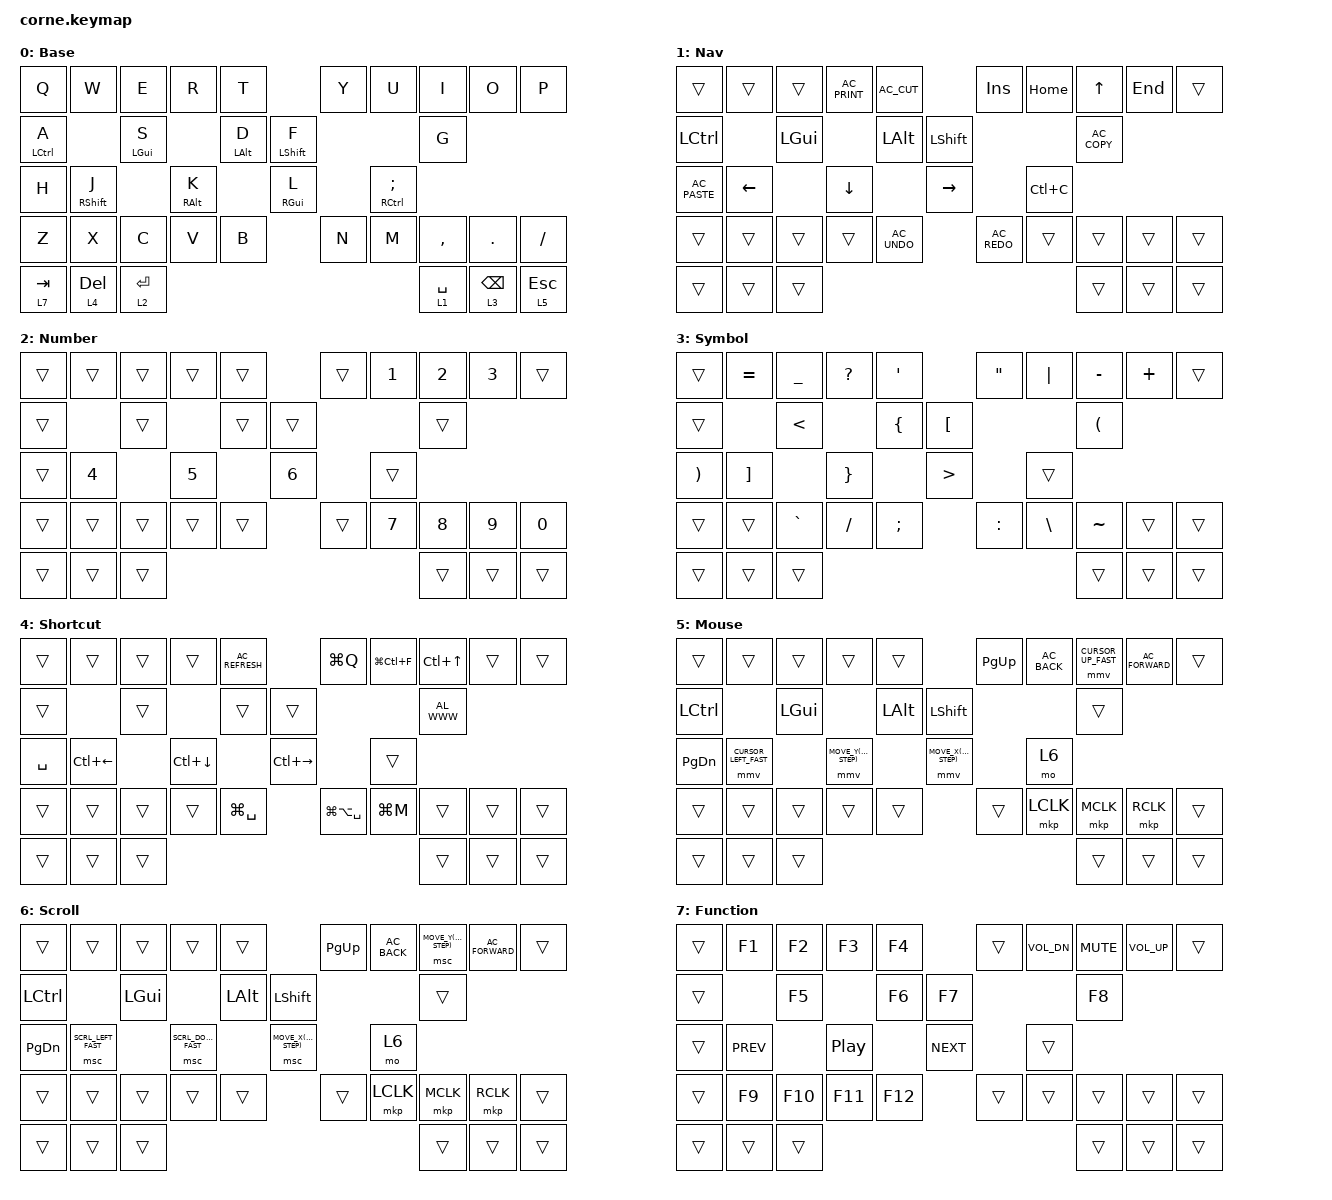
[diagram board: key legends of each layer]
/*
 * Copyright (c) 2020 The ZMK Contributors
 *
 * SPDX-License-Identifier: MIT
 */

#include <behaviors.dtsi>
#include <dt-bindings/zmk/keys.h>
#include <dt-bindings/zmk/bt.h>
#include <dt-bindings/zmk/pointing.h>

// Which mapping to use:
//#define REV1
#define REV2

// Which OS being used:
//#define WINDOWS
#define MACOS
//#define LINUX

// Tap hold timings (ms):
#define INDEX_MODS 175
#define HOME_MODS 250
#define THUMB_MODS 250 

// Cursor movement speed (pixels per tick-ish)
#define CURSOR_STEP 600

// Mouse move directions (pointer)
// For &mmv, positive Y is down, negative Y is up.
#define CURSOR_UP_FAST    MOVE_Y(-CURSOR_STEP)
#define CURSOR_DOWN_FAST  MOVE_Y(CURSOR_STEP)
#define CURSOR_LEFT_FAST  MOVE_X(-CURSOR_STEP)
#define CURSOR_RIGHT_FAST MOVE_X(CURSOR_STEP)

// Scroll speed (wheel units per tick-ish)
#define SCRL_STEP 25

// Mouse scroll directions
// For &msc, positive Y is up, negative Y is down.
#define SCRL_UP_FAST      MOVE_Y(SCRL_STEP)
#define SCRL_DOWN_FAST    MOVE_Y(-SCRL_STEP)
#define SCRL_LEFT_FAST    MOVE_X(-SCRL_STEP)
#define SCRL_RIGHT_FAST   MOVE_X(SCRL_STEP)

// macro defines
#define LEADER1 COLON // vim leader
#define LEADER2 LC(B) // tmux leader
#define NEIL_COPY C_AC_COPY
#define NEIL_CUT C_AC_CUT
#define NEIL_PRINT C_AC_PRINT
#define NEIL_PASTE C_AC_PASTE
#define NEIL_UNDO C_AC_UNDO
#define NEIL_REDO C_AC_REDO
#define NEIL_REFRESH C_AC_REFRESH

// -- OS Specific shortcuts --
/*
#ifdef WINDOWS
#define NEWTERM LG(LC(T)) // windows 
#define QUIT LA(F4) // windows/linux
#define APPSEARCH LG(S)
#define FILEEXPLORER C_AL_FILES
#define NEWBROWSER C_AL_WWW
#endif
*/

#ifdef MACOS
#define NEWTERM SPACE // mac -- dont have shortcut setup yet 
#define QUIT LG(Q) // mac quit app
#define APPSEARCH LG(SPACE)
#define FILEEXPLORER LG(LA(SPACE))
#define NEWBROWSER C_AL_WWW
#define FULLSCREEN LG(LC(F))
#define MINIMIZE LG(M)
#define MOVE_DKTP_UP LC(UP)
#define MOVE_DKTP_LF LC(LEFT)
#define MOVE_DKTP_DN LC(DOWN)
#define MOVE_DKTP_RT LC(RIGHT)
#endif

/*
#ifdef LINUX
#define NEWTERM LC(LA(T)) // linux 
#define QUIT LA(F4)       // windows/linux
#define APPSEARCH LGUI
#define FILEEXPLORER C_AL_FILES
#define NEWBROWSER C_AL_WWW
#define FULLSCREEN F11
#define MINIMIZE LG(H)
#define MOVE_DKTP_UP LG(LS(UP))
#define MOVE_DKTP_LF LG(LS(LEFT))
#define MOVE_DKTP_DN LG(LS(DOWN))
#define MOVE_DKTP_RT LG(LS(RIGHT))
#endif
*/

/ {
    /* Tap-hold and related behaviors */
    behaviors {
        // Home row mods
        hrm: homerow_mods {
            compatible = "zmk,behavior-hold-tap";
            label = "HOMEROW_MODS";
            #binding-cells = <2>;

            flavor = "tap-preferred";
            tapping-term-ms = <HOME_MODS>;
            quick-tap-ms = <0>;

            // hold behavior, tap behavior
            bindings = <&kp>, <&kp>;
        };

        // Index finger shift mod
        ishft: index_shift_mod {
            compatible = "zmk,behavior-hold-tap";
            label = "INDEX_SHIFT";
            #binding-cells = <2>;

            flavor = "tap-preferred";
            tapping-term-ms = <INDEX_MODS>;
            quick-tap-ms = <0>;

            bindings = <&kp>, <&kp>;
        };

        // Thumb layer-tap
        thlt: thumb_layer_tap {
            compatible = "zmk,behavior-hold-tap";
            label = "THUMB_LAYER_TAP";
            #binding-cells = <2>;

            flavor = "tap-preferred";
            tapping-term-ms = <THUMB_MODS>;
            quick-tap-ms = <0>;

            // hold = &mo (layer), tap = &kp (key)
            bindings = <&mo>, <&kp>;
        };
    };

    chosen {
        // Use the 5-column Corne physical layout instead of the default 6-col
        zmk,physical-layout = &foostan_corne_5col_layout;
    };

#ifdef REV2
    keymap {
        compatible = "zmk,keymap";

        alpha_layer { // 0
            display-name = "Base";
            bindings = <
           /*top row*/   &kp Q &kp W &kp E &kp R &kp T       /**/ &kp Y &kp U &kp I &kp O &kp P
           /*middle row*/&hrm LCTL A &hrm LGUI S &hrm LALT D &ishft LSHIFT F &kp G /**/
                        &kp H &ishft RSHIFT J &hrm RALT K &hrm RGUI L &hrm RCTL SEMI
           /*bottom row*/&kp Z &kp X &kp C &kp V &kp B       /**/ &kp N &kp M &kp COMMA &kp DOT &kp FSLH
           /*thumb row*/ &thlt 7 TAB &thlt 4 DEL &thlt 2 RET /**/ &thlt 1 SPACE &thlt 3 BSPC &thlt 5 ESCAPE 
            >;
        };

        nav_layer { // 1
            display-name = "Nav";
            bindings = <
           /*top row*/   &trans &trans &trans &kp NEIL_PRINT &kp NEIL_CUT   /**/ &kp INS &kp HOME &kp UP &kp END &trans
           /*middle row*/&kp LCTL &kp LGUI &kp LALT &kp LSHIFT &kp NEIL_COPY /**/ &kp NEIL_PASTE &kp LEFT &kp DOWN &kp RIGHT &kp LC(C)
           /*bottom row*/&trans &trans &trans &trans &kp NEIL_UNDO          /**/ &kp NEIL_REDO &trans &trans &trans &trans
           /*thumb row*/ &trans &trans &trans                               /**/ &trans &trans &trans 
            >;
        };

        num_layer { // 2
            display-name = "Number";
            bindings = <
           /*top row*/   &trans &trans &trans &trans &trans /**/ &trans &kp N1 &kp N2 &kp N3 &trans
           /*middle row*/&trans &trans &trans &trans &trans /**/ &trans &kp N4 &kp N5 &kp N6 &trans
           /*bottom row*/&trans &trans &trans &trans &trans /**/ &trans &kp N7 &kp N8 &kp N9 &kp N0 
           /*thumb row*/ &trans &trans &trans              /**/ &trans &trans &trans 
            >;
        };

        sym_layer { // 3
            display-name = "Symbol";
            bindings = <
           /*top row*/   &trans &kp EQUAL &kp UNDER &kp QMARK &kp SQT /**/ &kp DQT &kp PIPE &kp MINUS &kp PLUS &trans
           /*middle row*/&trans &kp LT    &kp LBRC  &kp LBKT  &kp LPAR /**/ &kp RPAR &kp RBKT &kp RBRC &kp GT &trans
           /*bottom row*/&trans &trans &kp GRAVE &kp FSLH &kp SEMI   /**/ &kp COLON &kp BSLH &kp TILDE &trans &trans
           /*thumb row*/ &trans &trans &trans                        /**/ &trans &trans &trans 
            >;
        };

        shortcut_layer { // 4
            display-name = "Shortcut";
            bindings = <
           /*top row*/   &trans &trans &trans &trans &kp NEIL_REFRESH /**/ &kp QUIT &kp FULLSCREEN &kp MOVE_DKTP_UP &trans &trans 
           /*middle row*/&trans &trans &trans &trans &kp NEWBROWSER   /**/ &kp NEWTERM &kp MOVE_DKTP_LF &kp MOVE_DKTP_DN &kp MOVE_DKTP_RT &trans
           /*bottom row*/&trans &trans &trans &trans &kp APPSEARCH    /**/ &kp FILEEXPLORER &kp MINIMIZE &trans &trans &trans
           /*thumb row*/ &trans &trans &trans                         /**/ &trans &trans &trans 
            >;
        }; 

        mouse_layer { // 5
            display-name = "Mouse";
            bindings = <
           /*top row*/   &trans &trans &trans &trans &trans /**/ &kp PG_UP &kp C_AC_BACK &mmv CURSOR_UP_FAST &kp C_AC_FORWARD &trans
           /*middle row*/&kp LCTL &kp LGUI &kp LALT &kp LSHIFT &trans /**/ &kp PG_DN &mmv CURSOR_LEFT_FAST &mmv CURSOR_DOWN_FAST &mmv CURSOR_RIGHT_FAST &mo 6
           /*bottom row*/&trans &trans &trans &trans &trans /**/ &trans &mkp LCLK &mkp MCLK &mkp RCLK &trans
           /*thumb row*/ &trans &trans &trans /**/ &trans &trans &trans 
            >;
        };

        scroll_layer { // 6
            display-name = "Scroll";
            bindings = <
           /*top row*/   &trans &trans &trans &trans &trans /**/ &kp PG_UP &kp C_AC_BACK &msc SCRL_UP_FAST &kp C_AC_FORWARD &trans
           /*middle row*/&kp LCTL &kp LGUI &kp LALT &kp LSHIFT &trans /**/ &kp PG_DN &msc SCRL_LEFT_FAST &msc SCRL_DOWN_FAST &msc SCRL_RIGHT_FAST &mo 6
           /*bottom row*/&trans &trans &trans &trans &trans /**/ &trans &mkp LCLK &mkp MCLK &mkp RCLK &trans
           /*thumb row*/ &trans &trans &trans /**/ &trans &trans &trans 
            >;
        };  

        function_layer { // 7
            display-name = "Function";
            bindings = <
           /*top row*/   &trans &kp F1 &kp F2 &kp F3 &kp F4 /**/ &trans &kp C_VOL_DN &kp C_MUTE &kp C_VOL_UP &trans
           /*middle row*/&trans &kp F5 &kp F6 &kp F7 &kp F8 /**/ &trans &kp C_PREV &kp C_PP &kp C_NEXT &trans 
           /*bottom row*/&trans &kp F9 &kp F10 &kp F11 &kp F12 /**/ &trans &trans &trans &trans &trans
           /*thumb row*/ &trans &trans &trans /**/ &trans &trans &trans 
            >;
        };    
    };
#endif

/*
// Keymap rev1 (old, disabled)
#ifdef REV1
    keymap {
        compatible = "zmk,keymap";
        ...
    };
#endif
*/
};
